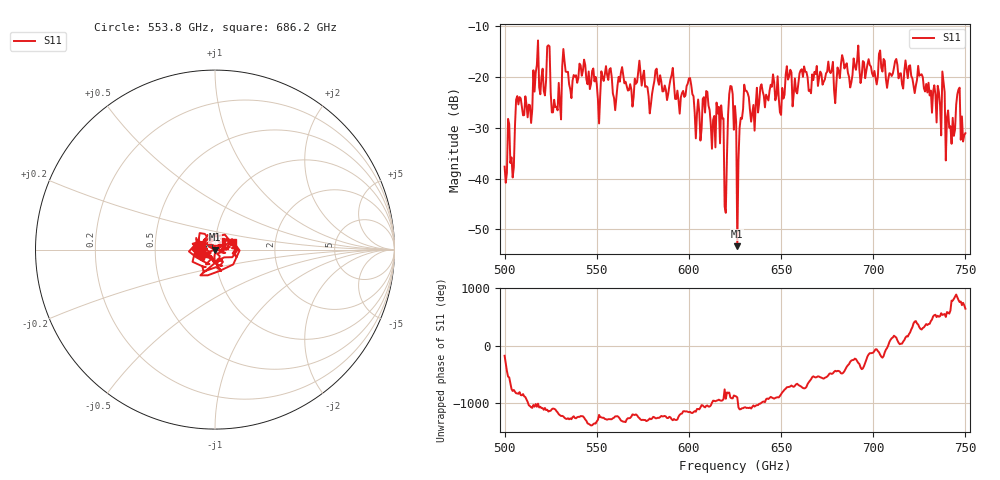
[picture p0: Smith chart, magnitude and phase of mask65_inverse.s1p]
!Created with skrf (http://scikit-rf.org).
# GHz S MA R 50.0
!freq magS11 angS11
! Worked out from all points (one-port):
!   401 points, 500 GHz to 750 GHz, reference 50 ohm
!   lowest |S11| = -53.3 dB at 626.2 GHz (marker M1), VSWR 1.00, Z = 49.8 - j0.0125 ohm
!   |S11| at or under -10 dB: start of sweep to end of sweep
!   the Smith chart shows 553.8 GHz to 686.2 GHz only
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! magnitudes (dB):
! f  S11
! 500 GHz  -37.7
! 504.4 GHz  -39.8
! 507.5 GHz  -25.4
! 513.8 GHz  -25.5
! 516.9 GHz  -19.1
! 523.8 GHz  -13.7
! 526.9 GHz  -24.5
! 531.2 GHz  -17.9
! 562.5 GHz  -20.9
! 593.8 GHz  -22.7
! 600 GHz  -20.3
! 605 GHz  -24.4
! 616.2 GHz  -25.9
! 619.4 GHz  -45.5
! 620.6 GHz  -35.8
! 622.5 GHz  -21.7
! 624.4 GHz  -30.4
! 625 GHz  -25.7
! 626.2 GHz  -53.3
! 631.2 GHz  -22.7
! 634.4 GHz  -27.1
! 656.2 GHz  -25.8
! 687.5 GHz  -22.0
! 718.8 GHz  -20.2
! 737.5 GHz  -18.9
! 740.6 GHz  -26.6
! 745.6 GHz  -23.4
! 750 GHz  -31.1
